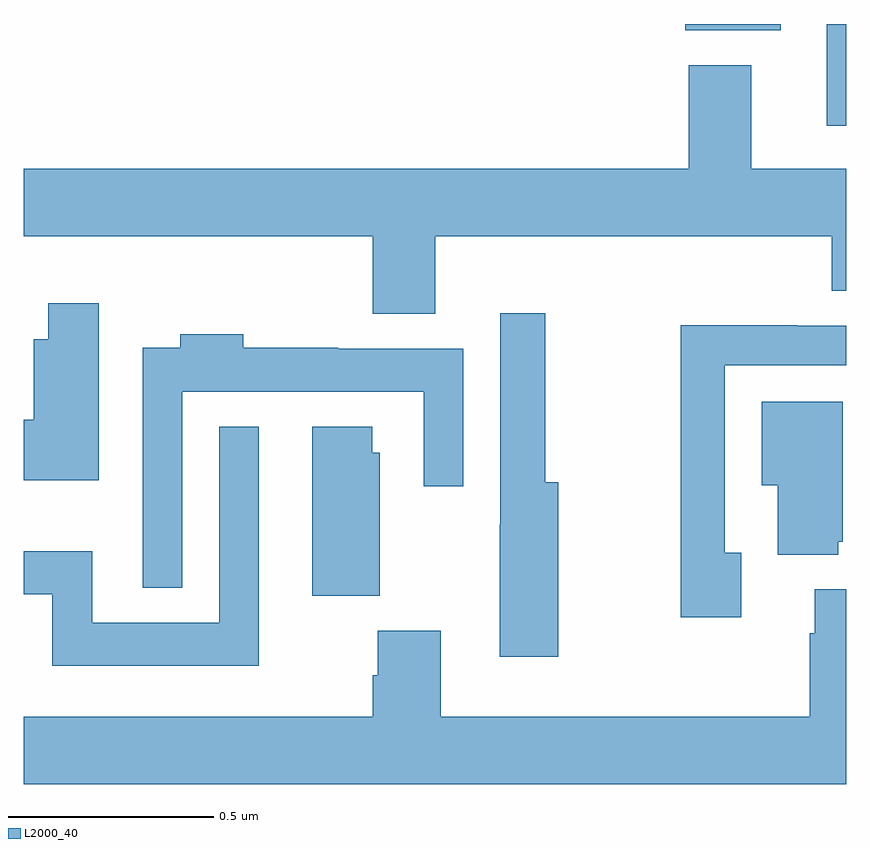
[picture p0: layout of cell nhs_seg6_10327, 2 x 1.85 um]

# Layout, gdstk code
import gdstk
lib = gdstk.Library(unit=1e-6, precision=1e-09)
def R(c, l, rs):  # rectangles x0, y0, x1, y1
    for r in rs: c.add(gdstk.rectangle(r[:2], r[2:], *l))
def P(c, l, *ps):  # polygons
    for p in ps: c.add(gdstk.Polygon(p, *l))
L2000_40 = (2000, 40)

nhs_seg6_10327 = lib.new_cell('nhs_seg6_10327')
R(nhs_seg6_10327, L2000_40, [(246.953,966.252,247,966.5), (246.608,966.485,246.841,966.5)])
P(nhs_seg6_10327, L2000_40, [(246.001,965.984),(246.965,965.984),(246.965,965.851),(247,965.851),(247,966.148),(246.769,966.148),(246.769,966.4),(246.617,966.4),(246.617,966.148),(245,966.148),(245,965.984),(245.849,965.984),(245.849,965.795),(246.001,965.795)],
  [(245.182,965.821),(245.06,965.821),(245.06,965.734),(245.024,965.734),(245.024,965.538),(245,965.538),(245,965.39),(245.182,965.39)],
  [(246.3,965.386),(246.268,965.386),(246.268,965.797),(246.159,965.797),(246.159,965.282),(246.158,965.282),(246.158,964.962),(246.3,964.962)],
  [(246.745,965.214),(246.705,965.214),(246.705,965.67),(247,965.67),(247,965.766),(246.881,965.766),(246.881,965.768),(246.597,965.768),(246.597,965.058),(246.745,965.058)],
  [(245.385,965.606),(245.973,965.606),(245.973,965.376),(246.069,965.376),(246.069,965.71),(245.765,965.71),(245.765,965.713),(245.534,965.713),(245.534,965.746),(245.381,965.746),(245.381,965.713),(245.289,965.713),(245.289,965.129),(245.385,965.129)],
  [(246.98,965.241),(246.991,965.241),(246.991,965.581),(246.794,965.581),(246.794,965.378),(246.833,965.378),(246.833,965.21),(246.98,965.21)],
  [(245.572,965.521),(245.475,965.521),(245.475,965.044),(245.166,965.044),(245.166,965.218),(245,965.218),(245,965.114),(245.069,965.114),(245.069,964.94),(245.572,964.94)],
  [(245.866,965.457),(245.848,965.457),(245.848,965.521),(245.702,965.521),(245.702,965.11),(245.866,965.11)],
  [(247,965.125),(246.923,965.125),(246.923,965.018),(246.911,965.018),(246.911,964.816),(246.014,964.816),(246.014,965.025),(245.861,965.025),(245.861,964.916),(245.849,964.916),(245.849,964.816),(245,964.816),(245,964.652),(247,964.652)])

lib.write_gds('nhs_seg6_10327.gds')
